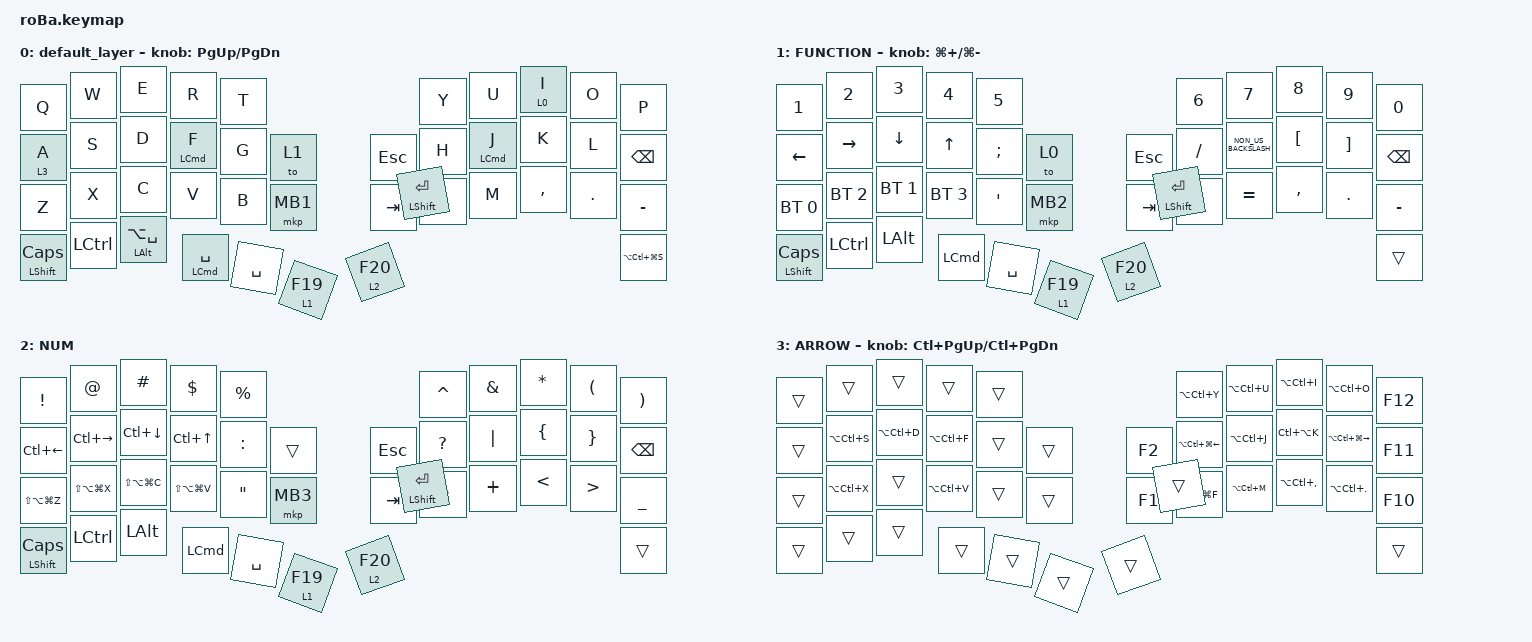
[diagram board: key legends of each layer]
#include <behaviors.dtsi>
#include <dt-bindings/zmk/bt.h>
#include <dt-bindings/zmk/keys.h>
#include <dt-bindings/zmk/pointing.h>

&mt {
    flavor = "balanced";
    quick-tap-ms = <0>;
};

&trackball {
    automouse-layer = <4>;
    scroll-layers = <1>;

    // arrows {
    //     layers = <3>;
    //     bindings =
    //         <&kp RIGHT_ARROW>,
    //         <&kp LEFT_ARROW>,
    //         <&kp UP_ARROW>,
    //         <&kp DOWN_ARROW>;
    //     tick = <10>;
    //     wait-ms = <5>;
    //     tap-ms = <5>;
    // };
};

/ {
    combos {
        compatible = "zmk,combos";

        tab {
            bindings = <&kp TAB>;
            key-positions = <11 12>;
        };

        shift_tab {
            bindings = <&kp LS(TAB)>;
            key-positions = <12 13>;
        };

        muhennkann {
            bindings = <&to_layer_0 INT_MUHENKAN>;
            key-positions = <11 10>;
        };

        double_quotation {
            bindings = <&kp DOUBLE_QUOTES>;
            key-positions = <20 21>;
        };

        eq {
            bindings = <&kp EQUAL>;
            key-positions = <24 25>;
        };
    };

    macros {
        to_layer_0: to_layer_0 {
            compatible = "zmk,behavior-macro-one-param";
            #binding-cells = <1>;
            bindings = <&to 0 &macro_param_1to1 &kp MACRO_PLACEHOLDER>;
            label = "TO_LAYER_0";
        };
    };

    behaviors {
        lt_to_layer_0: lt_to_layer_0 {
            compatible = "zmk,behavior-hold-tap";
            label = "LAYER_TAP_TO_0";
            bindings = <&mo>, <&to_layer_0>;

            #binding-cells = <2>;
            tapping-term-ms = <200>;
        };
    };

    keymap {
        compatible = "zmk,keymap";

        default_layer {
            bindings = <
&kp Q                    &kp W             &kp E                   &kp R                   &kp T                                &kp Y                 &kp U               &lt 0 I    &kp O    &kp P
&lt 3 A                  &kp S             &kp D                   &mt LEFT_COMMAND F      &kp G      &to 1          &kp ESC    &kp H                 &mt LEFT_COMMAND J  &kp K      &kp L    &kp BACKSPACE
&kp Z                    &kp X             &kp C                   &kp V                   &kp B      &mkp MB1       &kp TAB    &kp N                 &kp M               &kp COMMA  &kp DOT  &kp MINUS
&mt LEFT_SHIFT CAPSLOCK  &kp LEFT_CONTROL  &mt LEFT_ALT LA(SPACE)  &mt LEFT_COMMAND SPACE  &kp SPACE  &lt 1 F19      &lt 2 F20  &mt LEFT_SHIFT ENTER                                          &kp LA(LC(LG(S)))
            >;

            sensor-bindings = <&inc_dec_kp PG_UP PAGE_DOWN>;
        };

        FUNCTION {
            bindings = <
&kp NUMBER_1         &kp NUMBER_2      &kp NUMBER_3    &kp NUMBER_4      &kp NUMBER_5                             &kp NUMBER_6          &kp NUMBER_7          &kp NUMBER_8      &kp NUMBER_9       &kp NUMBER_0
&kp LEFT_ARROW       &kp RIGHT_ARROW   &kp DOWN_ARROW  &kp UP_ARROW      &kp SEMICOLON  &to 0          &kp ESC    &kp SLASH             &kp NON_US_BACKSLASH  &kp LEFT_BRACKET  &kp RIGHT_BRACKET  &kp BACKSPACE
&bt BT_SEL 0         &bt BT_SEL 2      &bt BT_SEL 1    &bt BT_SEL 3      &kp SQT        &mkp MB2       &kp TAB    &kp GRAVE             &kp EQUAL             &kp COMMA         &kp PERIOD         &kp MINUS
&mt LEFT_SHIFT CAPS  &kp LEFT_CONTROL  &kp LEFT_ALT    &kp LEFT_COMMAND  &kp SPACE      &lt 1 F19      &lt 2 F20  &mt LEFT_SHIFT ENTER                                                             &trans
            >;

            sensor-bindings = <&inc_dec_kp LG(PLUS) LG(MINUS)>;
        };

        NUM {
            bindings = <
&kp EXCLAMATION          &kp AT_SIGN          &kp HASH            &kp DOLLAR         &kp PERCENT                                  &kp CARET             &kp AMPERSAND  &kp ASTERISK    &kp LEFT_PARENTHESIS  &kp RIGHT_PARENTHESIS
&kp LC(LEFT_ARROW)       &kp LC(RIGHT_ARROW)  &kp LC(DOWN_ARROW)  &kp LC(UP_ARROW)   &kp COLON          &trans         &kp ESC    &kp QUESTION          &kp PIPE       &kp LEFT_BRACE  &kp RIGHT_BRACE       &kp BACKSPACE
&kp LS(LA(LG(Z)))        &kp LS(LA(LG(X)))    &kp LS(LA(LG(C)))   &kp LS(LA(LG(V)))  &kp DOUBLE_QUOTES  &mkp MB3       &kp TAB    &kp TILDE             &kp PLUS       &kp LESS_THAN   &kp GREATER_THAN      &kp UNDERSCORE
&mt LEFT_SHIFT CAPSLOCK  &kp LEFT_CONTROL     &kp LEFT_ALT        &kp LEFT_COMMAND   &kp SPACE          &lt 1 F19      &lt 2 F20  &mt LEFT_SHIFT ENTER                                                       &trans
            >;
        };

        ARROW {
            bindings = <
&trans  &trans         &trans         &trans         &trans                      &kp LA(LC(Y))               &kp LA(LC(U))  &kp LA(LC(I))      &kp LA(LC(O))                &kp F12
&trans  &kp LA(LC(S))  &kp LA(LC(D))  &kp LA(LC(F))  &trans  &trans      &kp F2  &kp LA(LC(LG(LEFT_ARROW)))  &kp LA(LC(J))  &kp LC(LA(K))      &kp LA(LC(LG(RIGHT_ARROW)))  &kp F11
&trans  &kp LA(LC(X))  &trans         &kp LA(LC(V))  &trans  &trans      &kp F1  &kp LC(LG(F))               &kp LA(LC(M))  &kp LA(LC(COMMA))  &kp LA(LC(PERIOD))           &kp F10
&trans  &trans         &trans         &trans         &trans  &trans      &trans  &trans                                                                                     &trans
            >;

            sensor-bindings = <&inc_dec_kp LC(PAGE_UP) LC(PAGE_DOWN)>;
        };
    };
};
